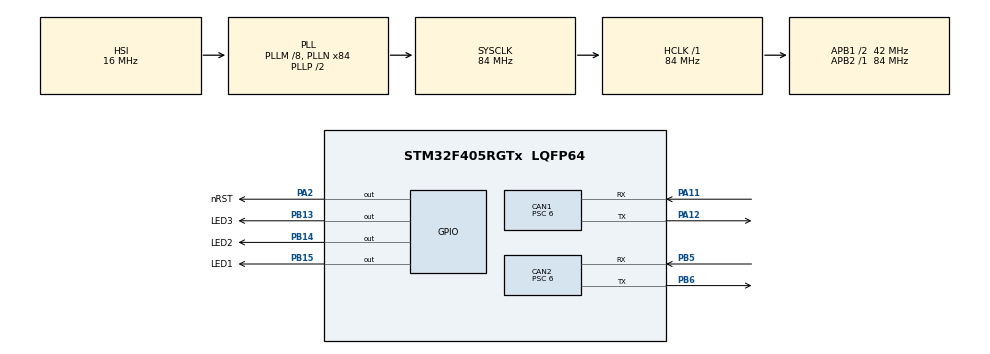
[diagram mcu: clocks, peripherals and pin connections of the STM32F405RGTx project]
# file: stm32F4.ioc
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CAN1.BS1=CAN_BS1_5TQ
CAN1.CalculateBaudRate=1000000
CAN1.CalculateTimeBit=1000
CAN1.CalculateTimeQuantum=142.85714285714286
CAN1.Prescaler=6
CAN2.BS1=CAN_BS1_3TQ
CAN2.BS2=CAN_BS2_3TQ
CAN2.CalculateBaudRate=1000000
CAN2.CalculateTimeBit=1000
CAN2.CalculateTimeQuantum=142.85714285714286
CAN2.Prescaler=6
Mcu.Family=STM32F4
Mcu.Name=STM32F405RGTx
Mcu.Package=LQFP64
NVIC.CAN1_RX0_IRQn=true\:0\:0\:false\:false\:true\:true\:true\:true
NVIC.CAN2_RX0_IRQn=true\:0\:0\:false\:false\:true\:true\:true\:true
NVIC.PriorityGroup=NVIC_PRIORITYGROUP_4
NVIC.TIM6_DAC_IRQn=true\:15\:0\:false\:false\:true\:false\:true\:true
NVIC.TimeBase=TIM6_DAC_IRQn
NVIC.TimeBaseIP=TIM6
PA11.Mode=CAN_Activate
PA11.Signal=CAN1_RX
PA12.Mode=CAN_Activate
PA12.Signal=CAN1_TX
PA2.GPIO_Label=nRST
PA2.GPIO_PuPd=GPIO_PULLUP
PA2.Signal=GPIO_Output
PB13.GPIO_Label=LED3
PB13.GPIO_PuPd=GPIO_PULLDOWN
PB13.Signal=GPIO_Output
PB14.GPIO_Label=LED2
PB14.GPIO_PuPd=GPIO_PULLDOWN
PB14.Signal=GPIO_Output
PB15.GPIO_Label=LED1
PB15.GPIO_PuPd=GPIO_PULLDOWN
PB15.Signal=GPIO_Output
PB5.Mode=CAN_Activate
PB5.Signal=CAN2_RX
PB6.Mode=CAN_Activate
PB6.Signal=CAN2_TX
PH0-OSC_IN.Mode=HSE-External-Oscillator
PH0-OSC_IN.Signal=RCC_OSC_IN
PH1-OSC_OUT.Mode=HSE-External-Oscillator
PH1-OSC_OUT.Signal=RCC_OSC_OUT
ProjectManager.HeapSize=0x200
ProjectManager.StackSize=0x400
ProjectManager.TargetToolchain=Makefile
RCC.48MHZClocksFreq_Value=24000000
RCC.AHBFreq_Value=84000000
RCC.APB1CLKDivider=RCC_HCLK_DIV2
RCC.APB1Freq_Value=42000000
RCC.APB1TimFreq_Value=84000000
RCC.APB2Freq_Value=84000000
RCC.APB2TimFreq_Value=84000000
RCC.CortexFreq_Value=84000000
RCC.HCLKFreq_Value=84000000
RCC.HSE_VALUE=8000000
RCC.HSI_VALUE=16000000
RCC.LSE_VALUE=32768
RCC.PLLM=8
RCC.PLLN=84
RCC.PLLQ=7
RCC.SYSCLKFreq_VALUE=84000000
RCC.SYSCLKSource=RCC_SYSCLKSOURCE_PLLCLK
RCC.VCOOutputFreq_Value=168000000
VP_SYS_VS_tim6.Mode=TIM6
board=custom

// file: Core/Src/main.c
/* USER CODE BEGIN Header */
/**
 ******************************************************************************
 * @file           : main.c
 * @brief          : Main program body
 ******************************************************************************
 * @attention
 *
 * Copyright (c) 2023 STMicroelectronics.
 * All rights reserved.
 *
 * This software is licensed under terms that can be found in the LICENSE file
 * in the root directory of this software component.
 * If no LICENSE file comes with this software, it is provided AS-IS.
 *
 ******************************************************************************
 */
/* USER CODE END Header */
#include "main.h"

CAN_HandleTypeDef hcan1;
CAN_HandleTypeDef hcan2;

/* USER CODE BEGIN PV */
CAN_TxHeaderTypeDef hcan2_tx_message;

/* USER CODE END PV */

void SystemClock_Config(void);
static void MX_GPIO_Init(void);
static void MX_CAN2_Init(void);
static void MX_CAN1_Init(void);

int main(void)
{

  /* MCU Configuration--------------------------------------------------------*/

  /* Reset of all peripherals, Initializes the Flash interface and the Systick. */
  HAL_Init();

  /* Configure the system clock */
  SystemClock_Config();

  /* Initialize all configured peripherals */
  MX_GPIO_Init();
  MX_CAN2_Init();
  MX_CAN1_Init();
  /* USER CODE BEGIN 2 */
  int lastT;
  float data;
  uint8_t payload[8];
  /* USER CODE END 2 */

  /* Infinite loop */
  /* USER CODE BEGIN WHILE */
  while (1)
  {
    HAL_GPIO_WritePin(nRST_GPIO_Port, nRST_Pin,GPIO_PIN_SET);
    /* USER CODE END WHILE */

    /* USER CODE BEGIN 3 */

    if ((HAL_GetTick() - lastT) > 999)
    {
      HAL_GPIO_TogglePin(LED1_GPIO_Port, LED1_Pin);
      HAL_GPIO_TogglePin(LED2_GPIO_Port, LED2_Pin);
      HAL_GPIO_TogglePin(LED3_GPIO_Port, LED3_Pin);

      lastT += 1000;
      uint32_t send_mail_box;

      //hcan2_tx_message.StdId = 0x2001;
      //hcan2_tx_message.IDE = CAN_ID_STD;
      //hcan2_tx_message.RTR = CAN_RTR_DATA;
      //hcan2_tx_message.DLC = 0x04;

      //data = 1.0;
      //uint8_t *vbuf;
      //vbuf = (uint8_t *)&data;
      //payload[0] = *vbuf;
      //payload[1] = *(vbuf + 1);
      //payload[2] = *(vbuf + 2);
      //payload[3] = *(vbuf + 3);

      hcan2_tx_message.StdId = 0x0001;
      hcan2_tx_message.IDE = CAN_ID_STD;
      hcan2_tx_message.RTR = CAN_RTR_DATA;
      hcan2_tx_message.DLC = 0x08;

      payload[0] = 0x00FF;
      payload[1] = 0x00FF;
      payload[2] = 0x00FF;
      payload[3] = 0x00FF;
      payload[4] = 0x00FF;
      payload[5] = 0x00FF;
      payload[6] = 0x00FF;
      payload[7] = 0x00FC;

      // 每1000ms执行到这里一次
      if (HAL_CAN_AddTxMessage(&hcan1, &hcan2_tx_message, payload, (uint32_t *)CAN_TX_MAILBOX0) != HAL_OK) //
      {
        if (HAL_CAN_AddTxMessage(&hcan1, &hcan2_tx_message, payload, (uint32_t *)CAN_TX_MAILBOX1) != HAL_OK)
        {
          HAL_CAN_AddTxMessage(&hcan1, &hcan2_tx_message, payload, (uint32_t *)CAN_TX_MAILBOX2);
        }
      }
    }
  }
  /* USER CODE END 3 */
}

void SystemClock_Config(void)
{
  RCC_OscInitTypeDef RCC_OscInitStruct = {0};
  RCC_ClkInitTypeDef RCC_ClkInitStruct = {0};

  /** Configure the main internal regulator output voltage
  */
  __HAL_RCC_PWR_CLK_ENABLE();
  __HAL_PWR_VOLTAGESCALING_CONFIG(PWR_REGULATOR_VOLTAGE_SCALE1);

  /** Initializes the RCC Oscillators according to the specified parameters
  * in the RCC_OscInitTypeDef structure.
  */
  RCC_OscInitStruct.OscillatorType = RCC_OSCILLATORTYPE_HSI;
  RCC_OscInitStruct.HSIState = RCC_HSI_ON;
  RCC_OscInitStruct.HSICalibrationValue = RCC_HSICALIBRATION_DEFAULT;
  RCC_OscInitStruct.PLL.PLLState = RCC_PLL_ON;
  RCC_OscInitStruct.PLL.PLLSource = RCC_PLLSOURCE_HSI;
  RCC_OscInitStruct.PLL.PLLM = 8;
  RCC_OscInitStruct.PLL.PLLN = 84;
  RCC_OscInitStruct.PLL.PLLP = RCC_PLLP_DIV2;
  RCC_OscInitStruct.PLL.PLLQ = 7;
  if (HAL_RCC_OscConfig(&RCC_OscInitStruct) != HAL_OK)
  {
    Error_Handler();
  }

  /** Initializes the CPU, AHB and APB buses clocks
  */
  RCC_ClkInitStruct.ClockType = RCC_CLOCKTYPE_HCLK|RCC_CLOCKTYPE_SYSCLK
                              |RCC_CLOCKTYPE_PCLK1|RCC_CLOCKTYPE_PCLK2;
  RCC_ClkInitStruct.SYSCLKSource = RCC_SYSCLKSOURCE_PLLCLK;
  RCC_ClkInitStruct.AHBCLKDivider = RCC_SYSCLK_DIV1;
  RCC_ClkInitStruct.APB1CLKDivider = RCC_HCLK_DIV2;
  RCC_ClkInitStruct.APB2CLKDivider = RCC_HCLK_DIV1;

  if (HAL_RCC_ClockConfig(&RCC_ClkInitStruct, FLASH_LATENCY_2) != HAL_OK)
  {
    Error_Handler();
  }
}

static void MX_CAN1_Init(void)
{

  /* USER CODE BEGIN CAN1_Init 0 */
  CAN_FilterTypeDef Filter;
  /* USER CODE END CAN1_Init 0 */

  hcan1.Instance = CAN1;
  hcan1.Init.Prescaler = 6;
  hcan1.Init.Mode = CAN_MODE_NORMAL;
  hcan1.Init.SyncJumpWidth = CAN_SJW_1TQ;
  hcan1.Init.TimeSeg1 = CAN_BS1_5TQ;
  hcan1.Init.TimeSeg2 = CAN_BS2_1TQ;
  hcan1.Init.TimeTriggeredMode = DISABLE;
  hcan1.Init.AutoBusOff = DISABLE;
  hcan1.Init.AutoWakeUp = DISABLE;
  hcan1.Init.AutoRetransmission = DISABLE;
  hcan1.Init.ReceiveFifoLocked = DISABLE;
  hcan1.Init.TransmitFifoPriority = DISABLE;
  if (HAL_CAN_Init(&hcan1) != HAL_OK)
  {
    Error_Handler();
  }
  /* USER CODE BEGIN CAN1_Init 2 */
  Filter.FilterIdHigh = 0;
  Filter.FilterIdLow = 0;
  Filter.FilterMaskIdHigh = 0;
  Filter.FilterMaskIdLow = 0;
  Filter.SlaveStartFilterBank = 0;
  Filter.FilterScale = CAN_FILTERSCALE_32BIT;
  Filter.FilterMode = CAN_FILTERMODE_IDMASK;
  Filter.FilterBank = 0;
  Filter.FilterFIFOAssignment = CAN_FilterFIFO0;
  Filter.FilterActivation = CAN_FILTER_ENABLE;

  HAL_CAN_ConfigFilter(&hcan1, &Filter);

  HAL_CAN_Start(&hcan1); // 启动hcan1
  /* USER CODE END CAN1_Init 2 */

}

static void MX_CAN2_Init(void)
{

  /* USER CODE BEGIN CAN2_Init 0 */
  CAN_FilterTypeDef Filter;
  /* USER CODE END CAN2_Init 0 */

  hcan2.Instance = CAN2;
  hcan2.Init.Prescaler = 6;
  hcan2.Init.Mode = CAN_MODE_NORMAL;
  hcan2.Init.SyncJumpWidth = CAN_SJW_1TQ;
  hcan2.Init.TimeSeg1 = CAN_BS1_3TQ;
  hcan2.Init.TimeSeg2 = CAN_BS2_3TQ;
  hcan2.Init.TimeTriggeredMode = DISABLE;
  hcan2.Init.AutoBusOff = DISABLE;
  hcan2.Init.AutoWakeUp = DISABLE;
  hcan2.Init.AutoRetransmission = DISABLE;
  hcan2.Init.ReceiveFifoLocked = DISABLE;
  hcan2.Init.TransmitFifoPriority = DISABLE;
  if (HAL_CAN_Init(&hcan2) != HAL_OK)
  {
    Error_Handler();
  }
  /* USER CODE BEGIN CAN2_Init 2 */

  Filter.FilterIdHigh = 0;
  Filter.FilterIdLow = 0;
  Filter.FilterMaskIdHigh = 0;
  Filter.FilterMaskIdLow = 0;
  Filter.SlaveStartFilterBank = 14;
  Filter.FilterScale = CAN_FILTERSCALE_32BIT;
  Filter.FilterMode = CAN_FILTERMODE_IDMASK;
  Filter.FilterBank = 14;
  Filter.FilterFIFOAssignment = CAN_FilterFIFO0;
  Filter.FilterActivation = CAN_FILTER_ENABLE;

  HAL_CAN_ConfigFilter(&hcan2, &Filter);

  HAL_CAN_Start(&hcan2); // 启动hcan1
  /* USER CODE END CAN2_Init 2 */

}

static void MX_GPIO_Init(void)
{
  GPIO_InitTypeDef GPIO_InitStruct = {0};

  /* GPIO Ports Clock Enable */
  __HAL_RCC_GPIOH_CLK_ENABLE();
  __HAL_RCC_GPIOA_CLK_ENABLE();
  __HAL_RCC_GPIOB_CLK_ENABLE();

  /*Configure GPIO pin Output Level */
  HAL_GPIO_WritePin(nRST_GPIO_Port, nRST_Pin, GPIO_PIN_RESET);

  /*Configure GPIO pin Output Level */
  HAL_GPIO_WritePin(GPIOB, LED3_Pin|LED2_Pin|LED1_Pin, GPIO_PIN_RESET);

  /*Configure GPIO pin : nRST_Pin */
  GPIO_InitStruct.Pin = nRST_Pin;
  GPIO_InitStruct.Mode = GPIO_MODE_OUTPUT_PP;
  GPIO_InitStruct.Pull = GPIO_PULLUP;
  GPIO_InitStruct.Speed = GPIO_SPEED_FREQ_LOW;
  HAL_GPIO_Init(nRST_GPIO_Port, &GPIO_InitStruct);

  /*Configure GPIO pins : LED3_Pin LED2_Pin LED1_Pin */
  GPIO_InitStruct.Pin = LED3_Pin|LED2_Pin|LED1_Pin;
  GPIO_InitStruct.Mode = GPIO_MODE_OUTPUT_PP;
  GPIO_InitStruct.Pull = GPIO_PULLDOWN;
  GPIO_InitStruct.Speed = GPIO_SPEED_FREQ_LOW;
  HAL_GPIO_Init(GPIOB, &GPIO_InitStruct);

}

void HAL_TIM_PeriodElapsedCallback(TIM_HandleTypeDef *htim)
{
  if (htim->Instance == TIM6) {
    HAL_IncTick();
  }
}

void Error_Handler(void)
{
  __disable_irq();
  while (1)
  {
  }
}
